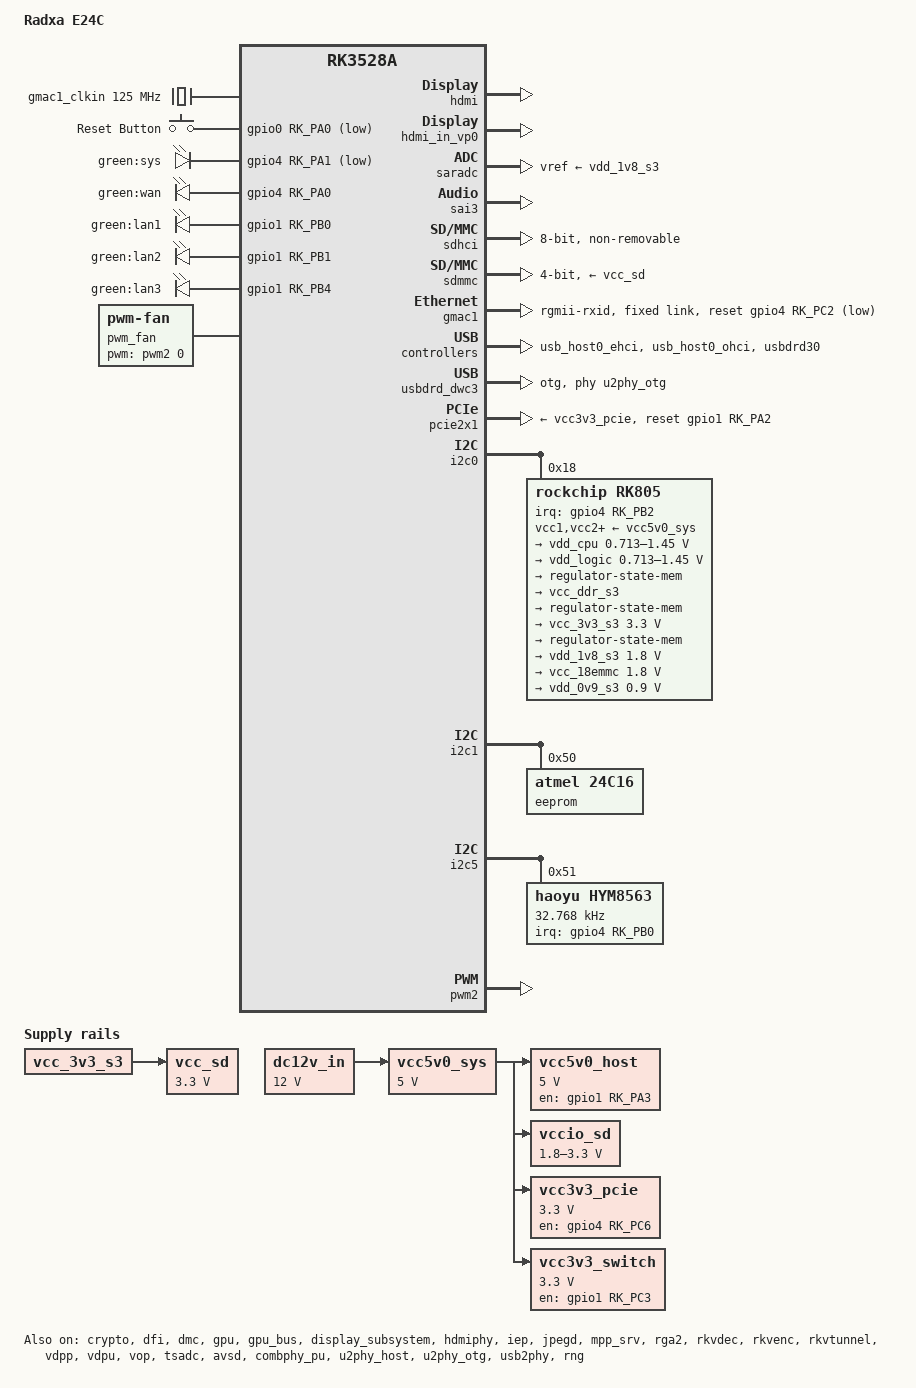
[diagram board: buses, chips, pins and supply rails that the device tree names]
// SPDX-License-Identifier: (GPL-2.0+ OR MIT)
/*
 * Copyright (c) 2022 Rockchip Electronics Co., Ltd.
 * Copyright (c) 2024 Radxa Computer (Shenzhen) Co., Ltd.
 *
 */

/dts-v1/;

#include <dt-bindings/gpio/gpio.h>
#include <dt-bindings/input/rk-input.h>
#include <dt-bindings/pinctrl/rockchip.h>
#include <dt-bindings/pwm/pwm.h>
#include <dt-bindings/thermal/thermal.h>
#include "dt-bindings/usb/pd.h"
#include "rk3528.dtsi"

/ {
	model = "Radxa E24C";
	compatible = "radxa,e24c", "radxa,rock-2", "rockchip,rk3528a";

	chosen: chosen {
		bootargs = "earlycon=uart8250,mmio32,0xff9f0000 console=ttyFIQ0:1500000";
	};

	gmac1_clkin: external-gmac1-clock {
		compatible = "fixed-clock";
		clock-frequency = <125000000>;
		clock-output-names = "gmac1_clkin";
		#clock-cells = <0>;
	};

	aliases {
		ethernet0 = &gmac1;
		mmc0 = &sdmmc;
		mmc1 = &sdhci;
		mmc2 = &sdio0;
		rtc0 = &hym8563;
		rtc99 = &rk805_rtc;
	};

	fiq_debugger: fiq-debugger {
		compatible = "rockchip,fiq-debugger";
		rockchip,serial-id = <0>;
		rockchip,wake-irq = <0>;
		/* If enable uart uses irq instead of fiq */
		rockchip,irq-mode-enable = <1>;
		rockchip,baudrate = <1500000>;  /* Only 115200 and 1500000 */
		interrupts = <GIC_SPI 186 IRQ_TYPE_LEVEL_HIGH>;
		pinctrl-names = "default";
		pinctrl-0 = <&uart0m0_xfer>;
		status = "okay";
	};

	firmware: firmware {
		optee {
			compatible = "linaro,optee-tz";
			method = "smc";
		};
	};

	reserved_memory: reserved-memory {
		#address-cells = <2>;
		#size-cells = <2>;
		ranges;

		drm_logo: drm-logo@0 {
			compatible = "rockchip,drm-logo";
			reg = <0x0 0x0 0x0 0x0>;
		};

		drm_cubic_lut: drm-cubic-lut@0 {
			compatible = "rockchip,drm-cubic-lut";
			reg = <0x0 0x0 0x0 0x0>;
		};

		ramoops: ramoops@110000 {
			compatible = "ramoops";
			/* 0x110000 to 0x1f0000 is for ramoops */
			reg = <0x0 0x110000 0x0 0xe0000>;
			boot-log-size = <0x8000>;	/* do not change */
			boot-log-count = <0x1>;		/* do not change */
			console-size = <0x80000>;
			pmsg-size = <0x30000>;
			ftrace-size = <0x00000>;
			record-size = <0x14000>;
		};
	};

	dc12v_in: regulator-dc12v-in {
		compatible = "regulator-fixed";
		regulator-name = "dc12v-in";
		regulator-always-on;
		regulator-boot-on;
		regulator-min-microvolt = <12000000>;
		regulator-max-microvolt = <12000000>;
	};

	vcc5v0_sys: regulator-vcc5v0-sys {
		compatible = "regulator-fixed";
		regulator-name = "vcc5v0_sys";
		regulator-always-on;
		regulator-boot-on;
		regulator-min-microvolt = <5000000>;
		regulator-max-microvolt = <5000000>;
		vin-supply = <&dc12v_in>;
	};

	vcc5v0_host: regulator-vcc5v0-host {
		compatible = "regulator-fixed";
		regulator-name = "vcc5v0_host";
		regulator-boot-on;
		regulator-always-on;
		regulator-min-microvolt = <5000000>;
		regulator-max-microvolt = <5000000>;
		enable-active-high;
		pinctrl-names = "default";
		pinctrl-0 = <&vcc5v0_host_en>;
		gpio = <&gpio1 RK_PA3 GPIO_ACTIVE_HIGH>;
		vin-supply = <&vcc5v0_sys>;
	};

	vccio_sd: vccio-sd {
		compatible = "regulator-gpio";
		regulator-name = "vccio_sd";
		regulator-min-microvolt = <1800000>;
		regulator-max-microvolt = <3300000>;
		pinctrl-names = "default";
		pinctrl-0 = <&vccio_sd_en>;
		gpios = <&gpio4 RK_PB6 GPIO_ACTIVE_HIGH>;
		vin-supply = <&vcc5v0_sys>;
		states = <1800000 0x0
			  3300000 0x1>;
	};

	vcc_sd: vcc-sd {
		compatible = "regulator-fixed";
		regulator-name = "vcc_sd";
		regulator-min-microvolt = <3300000>;
		regulator-max-microvolt = <3300000>;
		vin-supply = <&vcc_3v3_s3>;
	};

	vcc3v3_pcie: vcc3v3-pcie {
		compatible = "regulator-fixed";
		regulator-name = "vcc3v3_pcie";
		regulator-min-microvolt = <3300000>;
		regulator-max-microvolt = <3300000>;
		startup-delay-us = <5000>;
		enable-active-high;
		gpio = <&gpio4 RK_PC6 GPIO_ACTIVE_HIGH>;
		vin-supply = <&vcc5v0_sys>;
	};

	/*
	 * DC-DC: SY8088AAC(3v3) + SY8088AAC(1v1), max 1A
	 * input: vcc_5v0
	 * output: 3v3 to RTL8367RB AVDDH, 1v1 to RTL8367RB AVDDL
	 * enabled by GPIO1_C3
	 */
	vcc3v3_switch: regulator-vcc3v3-switch {
		compatible = "regulator-fixed";
		regulator-name = "vcc3v3_switch";
		regulator-min-microvolt = <3300000>;
		regulator-max-microvolt = <3300000>;
		regulator-boot-on;
		regulator-always-on;
		enable-active-high;
		gpio = <&gpio1 RK_PC3 GPIO_ACTIVE_HIGH>;
		pinctrl-names = "default";
		pinctrl-0 = <&rtl8367rb_power_en>;
		vin-supply = <&vcc5v0_sys>;
	};

	hdmi_sound: hdmi-sound {
		status = "okay";
		compatible = "simple-audio-card";
		simple-audio-card,format = "i2s";
		simple-audio-card,mclk-fs = <128>;
		simple-audio-card,name = "rockchip-hdmi0";
		simple-audio-card,cpu {
			sound-dai = <&sai3>;
		};
		simple-audio-card,codec {
			sound-dai = <&hdmi>;
		};
	};

	gpio_keys: gpio-keys {
		compatible = "gpio-keys";
		pinctrl-names = "default";
		pinctrl-0 = <&user_key>;
		autorepeat;

		user-key {
			label = "Reset Button";
			linux,code = <KEY_RESTART>;
			gpios = <&gpio0 RK_PA0 GPIO_ACTIVE_LOW>;
			debounce-interval = <100>;
		};
	};

	gpio_leds: gpio-leds {
		compatible = "gpio-leds";

		sys-led {
			gpios = <&gpio4 RK_PA1 GPIO_ACTIVE_LOW>;
			label = "green:sys";
			linux,default-trigger = "heartbeat";
		};

		wan-led {
			gpios = <&gpio4 RK_PA0 GPIO_ACTIVE_HIGH>;
			label = "green:wan";
			linux,default-trigger = "netdev";
		};

		lan1-led {
			gpios = <&gpio1 RK_PB0 GPIO_ACTIVE_HIGH>;
			label = "green:lan1";
			linux,default-trigger = "netdev";
		};

		lan2-led {
			gpios = <&gpio1 RK_PB1 GPIO_ACTIVE_HIGH>;
			label = "green:lan2";
			linux,default-trigger = "netdev";
		};

		lan3-led {
			gpios = <&gpio1 RK_PB4 GPIO_ACTIVE_HIGH>;
			label = "green:lan3";
			linux,default-trigger = "netdev";
		};
	};

	pwm_fan: pwm-fan {
		compatible = "pwm-fan";
		#cooling-cells = <2>;
		cooling-min-state = <0>;
		cooling-max-state = <4>;
		cooling-levels = <0 64 128 192 255>;
		pwms = <&pwm2 0 40000 0>;
	};

	/* RTL8367RB-VB (num:6367 ver:0020) */
	switch0: switch0 {
		compatible = "realtek,rtl8367b";
		realtek,extif = <6 1 0 1 1 1 1 1 1 2>;
		mii-bus = <&mdio1>;
		phy-id = <29>;
	};
};

&cpu0 {
	cpu-supply = <&vdd_cpu>;
};

&crypto {
	status = "okay";
};

&dfi {
	status = "okay";
};

&dmc {
	center-supply = <&vdd_logic>;
	status = "okay";
};

&gpu {
	mali-supply = <&vdd_logic>;
	status = "okay";
};

&gpu_bus {
	bus-supply = <&vdd_logic>;
	status = "okay";
};

&display_subsystem {
	memory-region = <&drm_logo>, <&drm_cubic_lut>;
	memory-region-names = "drm-logo", "drm-cubic-lut";
	/* devfreq = <&dmc>; */
	status = "okay";

	route {
		route_hdmi: route-hdmi {
			status = "okay";
			logo,uboot = "logo.bmp";
			logo,kernel = "logo_kernel.bmp";
			logo,mode = "center";
			charge_logo,mode = "center";
			connect = <&vp0_out_hdmi>;
		};

		route_tve: route-tve {
			status = "okay";
			logo,uboot = "logo.bmp";
			logo,kernel = "logo_kernel.bmp";
			logo,mode = "center";
			charge_logo,mode = "center";
			connect = <&vp1_out_tve>;
		};
	};
};

&hdmi {
	status = "okay";
};

&hdmi_in_vp0 {
	status = "okay";
};

&hdmiphy {
	status = "okay";
};

&tve {
	status = "disabled";
};

&tve_in_vp1 {
	status = "disabled";
};

&iep {
	status = "okay";
};

&iep_mmu {
	status = "okay";
};

&jpegd {
	status = "okay";
};

&jpegd_mmu {
	status = "okay";
};

&mpp_srv {
	status = "okay";
};

&rga2 {
	status = "okay";
};

&rga2_mmu {
	status = "okay";
};

&rkvdec {
	status = "okay";
};

&rkvdec_mmu {
	status = "okay";
};

&rkvenc {
	status = "okay";
};

&rkvenc_mmu {
	status = "okay";
};

&rkvtunnel {
	status = "okay";
};

&rockchip_suspend {
	status = "okay";
	rockchip,sleep-debug-en = <1>;
	rockchip,sleep-mode-config = <
		(0
		| RKPM_SLP_ARMPD
		)
	>;
	rockchip,wakeup-config = <
		(0
		| RKPM_CPU0_WKUP_EN
		| RKPM_GPIO_WKUP_EN
		| RKPM_USBDEV_WKUP_EN
		)
	>;
	rockchip,pwm-regulator-config = <
		(0
		| RKPM_PWM0_M0_REGULATOR_EN
		| RKPM_PWM1_M0_REGULATOR_EN
		)
	>;
};

&vdpp {
	status = "okay";
};

&vdpu {
	status = "okay";
};

&vdpu_mmu {
	status = "okay";
};

&vop {
	status = "okay";
};

&vop_mmu {
	status = "okay";
};

&tsadc {
	status = "okay";
};

&saradc {
	status = "okay";
	vref-supply = <&vdd_1v8_s3>;
};

&avsd {
	status = "okay";
};

&sai2 {
	status = "disabled";
};

&sai3 {
	status = "okay";
};

&sdhci {
	bus-width = <8>;
	no-sd;
	no-sdio;
	non-removable;
	mmc-hs400-1_8v;
	mmc-hs400-enhanced-strobe;
	max-frequency = <200000000>;
	status = "okay";
};

&sdmmc {
	bus-width = <4>;
	cap-mmc-highspeed;
	cap-sd-highspeed;
	disable-wp;
	max-frequency = <150000000>;
	pinctrl-names = "default";
	pinctrl-0 = <&sdmmc_clk &sdmmc_cmd &sdmmc_det &sdmmc_bus4>;
	rockchip,default-sample-phase = <90>;
	supports-sd;
	sd-uhs-sdr12;
	sd-uhs-sdr25;
	sd-uhs-sdr50;
	sd-uhs-sdr104;
	vqmmc-supply = <&vccio_sd>;
	vmmc-supply = <&vcc_sd>;
	status = "okay";
};

&gmac1 {
	status = "okay";
	phy-mode = "rgmii-rxid";
	clock_in_out = "output";
	label = "eth0";

	snps,reset-gpio = <&gpio4 RK_PC2 GPIO_ACTIVE_LOW>;
	snps,reset-active-low;
	/* Reset time is 20ms, 100ms for rtl8367rb */
	snps,reset-delays-us = <0 20000 100000>;

	pinctrl-names = "default";
	pinctrl-0 = <&rgmii_miim
			&rgmii_tx_bus2
			&rgmii_rx_bus2
			&rgmii_rgmii_clk
			&rgmii_rgmii_bus
			&eth_pins>;

	tx_delay = <0x3f>;
	//rx_delay = <0x20>;

	fixed-link {
		speed = <1000>;
		full-duplex;
		pause;
	};
};

&combphy_pu {
	status = "okay";
};

&u2phy_host {
	phy-supply = <&vcc5v0_host>;
	status = "okay";
};

&u2phy_otg {
	vbus-supply = <&vcc_3v3_s3>;
	status = "okay";
};

&usb2phy {
	status = "okay";
};

&usb_host0_ehci {
	status = "okay";
};

&usb_host0_ohci {
	status = "okay";
};

&usbdrd30 {
	status = "okay";
};

&usbdrd_dwc3 {
	dr_mode = "otg";
	extcon = <&usb2phy>;
	phys = <&u2phy_otg>;
	phy-names = "usb2-phy";
	maximum-speed = "high-speed";
	snps,dis_u2_susphy_quirk;
	snps,usb2-lpm-disable;
	status = "okay";
};

&pcie2x1 {
	reset-gpios = <&gpio1 RK_PA2 GPIO_ACTIVE_HIGH>;
	vpcie3v3-supply = <&vcc3v3_pcie>;
	status = "okay";
};

/* PMIC */
&i2c0 {
        pinctrl-names = "default";
        pinctrl-0 = <&i2c0m0_xfer>;
	status = "okay";

	rk805: rk805@18 {
		compatible = "rockchip,rk805";
		reg = <0x18>;
		interrupt-parent = <&gpio4>;
		interrupts = <RK_PB2 IRQ_TYPE_LEVEL_LOW>;
		pinctrl-names = "default";
		pinctrl-0 = <&pmic_int_l>;
		wakeup-source;
		gpio-controller;
		#gpio-cells = <2>;
		#clock-cells = <1>;
		clock-output-names = "rk805-clkout1", "rk805-clkout2";
		status = "okay";
		rockchip,system-power-controller;

		vcc1-supply = <&vcc5v0_sys>;
		vcc2-supply = <&vcc5v0_sys>;
		vcc3-supply = <&vcc5v0_sys>;
		vcc4-supply = <&vcc5v0_sys>;
		vcc5-supply = <&vcc5v0_sys>;
		vcc6-supply = <&vcc5v0_sys>;

		pwrkey {
			status = "okay";
		};

		rk805_rtc: rtc {
			status = "disabled";
		};

		gpio {
			status = "okay";
		};

		regulators {
			vdd_cpu: DCDC_REG1 {
				regulator-name = "vdd_cpu";
				regulator-min-microvolt = <712500>;
				regulator-max-microvolt = <1450000>;
				regulator-init-microvolt = <953000>;
				regulator-initial-mode = <0x1>;
				regulator-ramp-delay = <12500>;
				regulator-boot-on;
				regulator-always-on;
				regulator-state-mem {
					regulator-on-in-suspend;
				};
			};

			vdd_logic: DCDC_REG2 {
				regulator-name = "vdd_logic";
				regulator-min-microvolt = <712500>;
				regulator-max-microvolt = <1450000>;
				regulator-init-microvolt = <900000>;
				regulator-initial-mode = <0x1>;
				regulator-ramp-delay = <12500>;
				regulator-boot-on;
				regulator-always-on;
				regulator-state-mem {
					regulator-mode = <0x2>;
					regulator-on-in-suspend;
					regulator-suspend-microvolt = <712500>;
				};
			};

			vcc_ddr_s3: DCDC_REG3 {
				regulator-name = "vcc_ddr_s3";
				regulator-initial-mode = <0x1>;
				regulator-boot-on;
				regulator-always-on;
				regulator-state-mem {
					regulator-mode = <0x2>;
					regulator-on-in-suspend;
				};
			};

			vcc_3v3_s3: DCDC_REG4 {
				regulator-name = "vcc_3v3_s3";
				regulator-min-microvolt = <3300000>;
				regulator-max-microvolt = <3300000>;
				regulator-initial-mode = <0x1>;
				regulator-boot-on;
				regulator-always-on;
				regulator-state-mem {
					regulator-mode = <0x2>;
					regulator-on-in-suspend;
					regulator-suspend-microvolt = <3300000>;
				};
			};

			vdd_1v8_s3: LDO_REG1 {
				regulator-name = "vdd_1v8_s3";
				regulator-min-microvolt = <1800000>;
				regulator-max-microvolt = <1800000>;
				regulator-boot-on;
				regulator-always-on;
				regulator-state-mem {
					regulator-on-in-suspend;
					regulator-suspend-microvolt = <1800000>;
				};
			};

			vcc_18emmc: LDO_REG2 {
				regulator-name = "vcc_18emmc";
				regulator-min-microvolt = <1800000>;
				regulator-max-microvolt = <1800000>;
				regulator-boot-on;
				regulator-always-on;
				regulator-state-mem {
					regulator-on-in-suspend;
					regulator-suspend-microvolt = <1800000>;
				};
			};

			vdd_0v9_s3: LDO_REG3 {
				regulator-name = "vdd_0v9_s3";
				regulator-min-microvolt = <900000>;
				regulator-max-microvolt = <900000>;
				regulator-boot-on;
				regulator-always-on;
				regulator-state-mem {
					regulator-on-in-suspend;
					regulator-suspend-microvolt = <900000>;
				};
			};
		};
	};
};

/* EEPROM */
&i2c1 {
	pinctrl-names = "default";
	pinctrl-0 = <&i2c1m0_xfer>;
	status = "okay";

	eeprom:	bl24c16@50 {
		status = "okay";
		compatible = "atmel,24c16";
		reg = <0x50>;
		pagesize = <16>;
		#address-cells = <1>;
		#size-cells = <1>;

		/*
		 * Radxa "RADX" EEPROM layout, record type 5 (serial number +
		 * MAC addresses). Four sequential unicast addresses, handed
		 * out in RTL8367RB port order: port 0 (wan), then ports 1..3
		 * (lan1..lan3).
		 */
		mac_wan: mac-address@9e {
			reg = <0x9e 0x06>;
		};

		mac_lan1: mac-address@a4 {
			reg = <0xa4 0x06>;
		};

		mac_lan2: mac-address@aa {
			reg = <0xaa 0x06>;
		};

		mac_lan3: mac-address@b0 {
			reg = <0xb0 0x06>;
		};
	};
};

/* LCD (option) */
&i2c2 {
	pinctrl-names = "default";
	pinctrl-0 = <&i2c2m1_xfer>;
	status = "disabled";
};

&i2c5 {
	pinctrl-names = "default";
	pinctrl-0 = <&i2c5m0_xfer>;
	status = "okay";

	hym8563: hym8563@51 {
		compatible = "haoyu,hym8563";
		reg = <0x51>;
		#clock-cells = <0>;
		clock-frequency = <32768>;
		clock-output-names = "hym8563";
		pinctrl-names = "default";
		pinctrl-0 = <&hym8563_int>;
		interrupt-parent = <&gpio4>;
		interrupts = <RK_PB0 IRQ_TYPE_LEVEL_LOW>;
		wakeup-source;
	};
};

&pinctrl {
	pmic {
		pmic_int_l: pmic-int-l {
			rockchip,pins =
				<4 RK_PB2 RK_FUNC_GPIO &pcfg_pull_up>;
		};
	};

	usb {
		vcc5v0_host_en: vcc5v0-host-en {
			rockchip,pins =
				<1 RK_PA3 RK_FUNC_GPIO &pcfg_pull_none>;
		};

		vccio_sd_en: vccio-sd-en {
			rockchip,pins =
				<4 RK_PB6 RK_FUNC_GPIO &pcfg_pull_none>;
		};
	};

	keys {
		user_key: user-key {
			rockchip,pins =
				<0 RK_PA0 RK_FUNC_GPIO &pcfg_pull_up>;
		};
	};

	rtl8367rb {
		rtl8367rb_power_en: rtl8367rb-power-en {
			rockchip,pins =
				<1 RK_PC3 RK_FUNC_GPIO &pcfg_pull_none>;
		};
	};

	hym8563 {
		hym8563_int: hym8563-int {
			rockchip,pins =
				<4 RK_PB0 RK_FUNC_GPIO &pcfg_pull_none>;
		};
	};

	sdmmc {
		sdmmc-clk {
			rockchip,pins =
				/* sdmmc_clk */
				<2 RK_PA5 1 &pcfg_pull_up_drv_level_3>;
		};
	};
};

/* PWM FAN */
&pwm2 {
	status = "okay";
};

&rng {
	status = "okay";
};

&soc_thermal {
	sustainable-power = <5000>; /* milliwatts */
	cooling-maps {
		map2 {
			trip = <&target>;
			cooling-device = <&pwm_fan THERMAL_NO_LIMIT THERMAL_NO_LIMIT>;
			contribution = <8192>;
		};
		map3 {
			trip = <&threshold>;
			cooling-device = <&pwm_fan THERMAL_NO_LIMIT THERMAL_NO_LIMIT>;
			contribution = <8192>;
		};
	};
};

&threshold {
	temperature = <50000>;
};

&gpio0 {
	gpio-line-names =
		/* GPIO0_A0-A3 */
		"", "", "", "",
		/* GPIO0_A4-A7 */
		"", "", "", "",

		/* GPIO0_B0-B3 */
		"", "", "", "",
		/* GPIO0_B4-B7 */
		"", "", "", "",

		/* GPIO0_C0-C3 */
		"", "", "", "",
		/* GPIO0_C4-C7 */
		"", "", "", "",

		/* GPIO0_D0-D3 */
		"", "", "", "",
		/* GPIO0_D4-D7 */
		"", "", "", "";
};

&gpio1 {
	gpio-line-names =
		/* GPIO1_A0-A3 */
		"", "", "", "",
		/* GPIO1_A4-A7 */
		"", "", "", "",

		/* GPIO1_B0-B3 */
		"", "", "PIN_5", "PIN_3",
		/* GPIO1_B4-B7 */
		"", "", "PIN_11", "PIN_7",

		/* GPIO1_C0-C3 */
		"PIN_9", "PIN_13", "", "",
		/* GPIO1_C4-C7 */
		"", "", "", "",

		/* GPIO1_D0-D3 */
		"", "", "", "",
		/* GPIO1_D4-D7 */
		"", "", "", "";
};

&gpio2 {
	gpio-line-names =
		/* GPIO2_A0-A3 */
		"", "", "", "",
		/* GPIO2_A4-A7 */
		"", "", "", "",

		/* GPIO2_B0-B3 */
		"", "", "", "",
		/* GPIO2_B4-B7 */
		"", "", "", "",

		/* GPIO2_C0-C3 */
		"", "", "", "",
		/* GPIO2_C4-C7 */
		"", "", "", "",

		/* GPIO2_D0-D3 */
		"", "", "", "",
		/* GPIO2_D4-D7 */
		"", "", "", "";
};

&gpio3 {
	gpio-line-names =
		/* GPIO3_A0-A3 */
		"", "", "", "",
		/* GPIO3_A4-A7 */
		"", "", "", "",

		/* GPIO3_B0-B3 */
		"", "", "", "",
		/* GPIO3_B4-B7 */
		"", "", "", "",

		/* GPIO3_C0-C3 */
		"", "", "", "",
		/* GPIO3_C4-C7 */
		"", "", "", "",

		/* GPIO3_D0-D3 */
		"", "", "", "",
		/* GPIO3_D4-D7 */
		"", "", "", "";
};

&gpio4 {
	gpio-line-names =
		/* GPIO4_A0-A3 */
		"", "", "", "",
		/* GPIO4_A4-A7 */
		"PIN_6", "PIN_8", "PIN_10", "PIN_14",

		/* GPIO4_B0-B3 */
		"", "", "", "",
		/* GPIO4_B4-B7 */
		"PIN_12", "", "", "",

		/* GPIO4_C0-C3 */
		"", "", "", "",
		/* GPIO4_C4-C7 */
		"", "", "", "",

		/* GPIO4_D0-D3 */
		"", "", "", "",
		/* GPIO4_D4-D7 */
		"", "", "", "";
};
